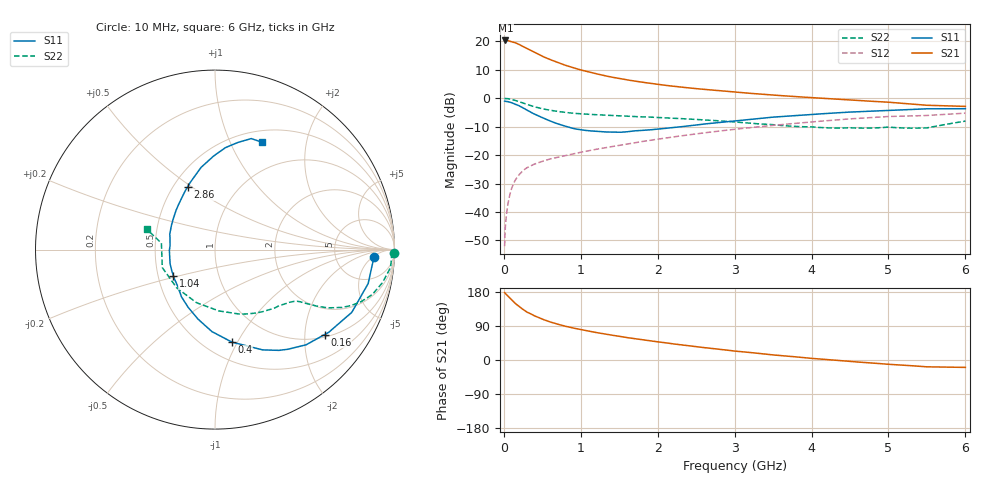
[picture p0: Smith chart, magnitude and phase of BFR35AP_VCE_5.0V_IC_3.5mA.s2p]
! Infineon Technologies  Discrete & RF Semiconductors
! BFR35AP
! VCE =  5.0 V,  IC =  3.5 mA
! Common Emitter S-Parameters:  Nov 2015
# GHz  S  MA  R  50
!  f  S11  S21  S12  S22
! GHz  MAG  ANG  MAG  ANG  MAG  ANG  MAG  ANG
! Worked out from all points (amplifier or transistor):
!   210 points, 10 MHz to 6 GHz, reference 50 ohm
!   highest |S21| = 20.3 dB at 20 MHz (marker M1)
!   |S21| within 3 dB of that: start of sweep to 315.2 MHz
!   unconditionally stable (mu >= 1): 945.3 MHz to 3.412 GHz
!   at 185 MHz: K = 0.30, MSG = 23.2 dB, |S12| = -27.4 dB
!   at 1.52 GHz: K = 1.13, MAG = 9.5 dB, |S12| = -16.5 dB
!   at 6 GHz: K = 0.95, MSG = 1.2 dB, |S12| = -5.3 dB
!   S11 on the Smith chart (normalised r, x): 10 MHz: 15, -5; 160 MHz: 1.07, -2.52; 400 MHz: 0.67, -0.95; 1.04 GHz: 0.60, -0.19; 2.86 GHz: 0.59, +0.48; 6 GHz: 0.64, +1.33
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0.01  0.8876 -2.5  10.25 177.9  0.0025 86.6  0.9951 -1.1
0.02  0.8812 -5.0  10.36 175.5  0.0055 85.3  0.9848 -2.2
0.05  0.8742 -12.5  10.33 169.3  0.013 84.0  0.9832 -5.8
0.1  0.8386 -24.6  9.869 159.5  0.0256 76.8  0.9516 -11.1
0.15  0.784 -35.9  9.449 148.9  0.0366 70.3  0.9121 -15.9
0.16  0.7722 -37.8  9.302 147.4  0.0383 69.3  0.9025 -16.6
0.2  0.7345 -46.2  8.785 140.9  0.0454 66.2  0.8656 -19.5
0.26  0.6649 -57.6  7.975 132.0  0.0547 61.7  0.8122 -22.7
0.3  0.6185 -64.6  7.516 126.5  0.0599 59.9  0.7778 -24.5
0.4  0.5242 -79.6  6.416 116.3  0.0696 55.7  0.7045 -27.4
0.5  0.4575 -92.1  5.45 107.6  0.0775 53.7  0.651 -29.0
0.64  0.3793 -107.9  4.569 98.2  0.0878 52.7  0.6028 -30.2
0.8  0.3226 -125.4  3.794 89.0  0.0984 52.4  0.5621 -31.3
1.02  0.2763 -145.9  3.092 79.6  0.1134 53.4  0.5296 -32.9
1.04  0.2738 -147.8  3.044 78.8  0.1148 53.5  0.5275 -33.1
1.4  0.2542 -178.9  2.349 65.6  0.1405 54.2  0.4977 -37.1
2.02  0.2879 144.2  1.735 47.5  0.1919 53.6  0.4569 -46.5
2.86  0.3813 113.6  1.33 26.9  0.2702 48.5  0.3951 -65.3
3.1  0.4109 107.8  1.25 21.8  0.2937 46.2  0.3732 -72.4
4.1  0.5295 89.6  1.003 2.8  0.3924 35.2  0.306 -114.1
5.1  0.6177 76.7  0.829 -12.5  0.4798 21.1  0.3035 -166.1
6  0.6531 66.3  0.718 -19.5  0.5457 10.3  0.3957 163.4
